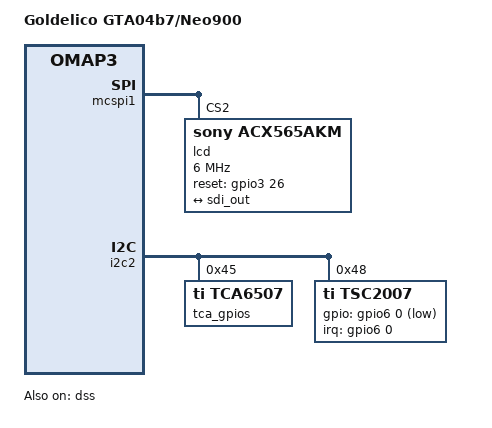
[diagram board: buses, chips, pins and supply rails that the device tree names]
/*
 * Copyright (C) 2014 H. Nikolaus Schaller <hns@goldelico.com>
 *
 * This program is free software; you can redistribute it and/or modify
 * it under the terms of the GNU General Public License version 2 as
 * published by the Free Software Foundation.
 */

/* we start with the omap3-gta04 tree and modify only what is really different */

#include "omap3-gta04.dtsi"

/ {

	/* overwrite device model */
	model = "Goldelico GTA04b7/Neo900";

	/* add additional regulators etc. */

	/* overwrite panel definitions */

	aliases {
		display0 = &lcd_neo900;
		display1 = &tv0;
	};

	/delete-node/ spi_lcd;

};

&mcspi1 {

	num-chipselects = <2>;

	lcd_neo900: lcd {
		compatible = "sony,acx565akm";
		reg = <2>;
		spi-max-frequency = <6000000>;
		spi-cpol;
		spi-cpha;

		label = "lcd";
		reset-gpios = <&gpio3 26 GPIO_ACTIVE_HIGH>; /* 90 */

		port {
			lcd_neo900_in: endpoint {
				remote-endpoint = <&sdi_out>;
			};
		};
	};
};

&dss {
	pinctrl-names = "default";
	pinctrl-0 = < &dss_dpi_pins >;

	status = "okay";

	port {
		sdi_out: endpoint {
			remote-endpoint = <&lcd_neo900_in>;
			data-lines = <24>;
		};
	};
};

&battery {
	compatible = "ti,twl4030-madc-battery";
	capacity = <1320000>;
	charging-calibration-data = <4200 100 4100 75 4000 55 3900 25 3800 5 3700 2 3600 1 3300 0>;
	discharging-calibration-data = <4200 100 4100 95 4000 70 3800 50 3700 10 3600 5 3300 0>;
};

&i2c2 {
	/* we have a different set of LEDs */
	tca_gpios: tca6507@45 {
		compatible = "ti,tca6507";
		#address-cells = <1>;
		#size-cells = <0>;
		reg = <0x45>;

/* FIXME */

		gta04_led0: led@0 {
			label = "gta04:red:aux";
			reg = <0x0>;
		};

		gta04_led1: led@1 {
			label = "gta04:green:aux";
			reg = <0x1>;
		};

		gta04_led3: led@3 {
			label = "gta04:red:power";
			reg = <0x3>;
			linux,default-trigger = "default-on";
		};

		gta04_led4: led@4 {
			label = "gta04:green:power";
			reg = <0x4>;
		};
	};

	/* touchscreen */
	tsc2007@48 {
		compatible = "ti,tsc2007";
		reg = <0x48>;
		interrupt-parent = <&gpio6>;
		interrupts = <0 IRQ_TYPE_EDGE_FALLING>;
		gpios = <&gpio6 0 GPIO_ACTIVE_LOW>;	/* gpio160 */
		ti,x-plate-ohms = <600>;
		ti,rng_x = <123 456>;
		ti,rng_y = <123 456>;
		ti,rng_z = <123 456>;
		ti,flip_x = <0>;
		ti,flip_y = <1>;
		ti,swap_xy = <0>;
	};

};
